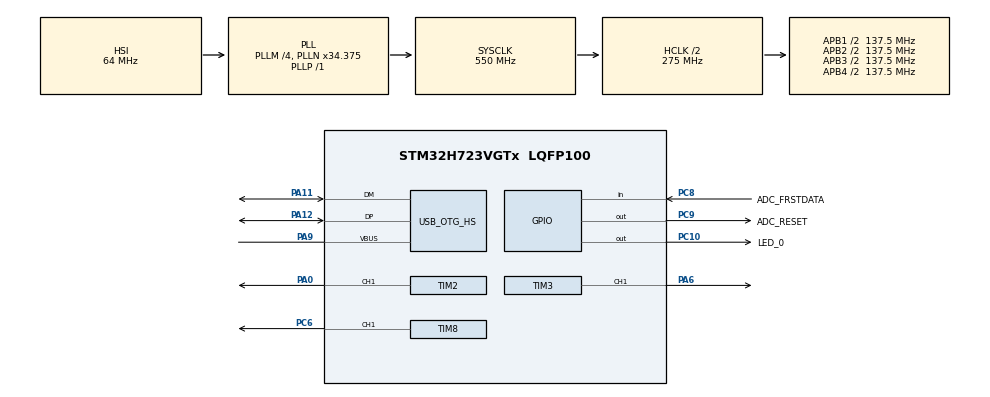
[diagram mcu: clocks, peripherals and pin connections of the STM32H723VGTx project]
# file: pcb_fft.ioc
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Dma.FMAC_RD.1.Direction=DMA_PERIPH_TO_MEMORY
Dma.FMAC_RD.1.EventEnable=DISABLE
Dma.FMAC_RD.1.FIFOMode=DMA_FIFOMODE_DISABLE
Dma.FMAC_RD.1.Instance=DMA1_Stream0
Dma.FMAC_RD.1.MemDataAlignment=DMA_MDATAALIGN_HALFWORD
Dma.FMAC_RD.1.MemInc=DMA_MINC_ENABLE
Dma.FMAC_RD.1.Mode=DMA_NORMAL
Dma.FMAC_RD.1.PeriphDataAlignment=DMA_PDATAALIGN_HALFWORD
Dma.FMAC_RD.1.PeriphInc=DMA_PINC_DISABLE
Dma.FMAC_RD.1.Polarity=HAL_DMAMUX_REQ_GEN_RISING
Dma.FMAC_RD.1.Priority=DMA_PRIORITY_LOW
Dma.FMAC_RD.1.RequestNumber=1
Dma.FMAC_RD.1.SignalID=NONE
Dma.FMAC_RD.1.SyncEnable=DISABLE
Dma.FMAC_RD.1.SyncPolarity=HAL_DMAMUX_SYNC_NO_EVENT
Dma.FMAC_RD.1.SyncRequestNumber=1
Dma.FMAC_RD.1.SyncSignalID=NONE
Dma.FMAC_WR.2.Direction=DMA_MEMORY_TO_PERIPH
Dma.FMAC_WR.2.EventEnable=DISABLE
Dma.FMAC_WR.2.FIFOMode=DMA_FIFOMODE_DISABLE
Dma.FMAC_WR.2.Instance=DMA1_Stream1
Dma.FMAC_WR.2.MemDataAlignment=DMA_MDATAALIGN_HALFWORD
Dma.FMAC_WR.2.MemInc=DMA_MINC_ENABLE
Dma.FMAC_WR.2.Mode=DMA_NORMAL
Dma.FMAC_WR.2.PeriphDataAlignment=DMA_PDATAALIGN_HALFWORD
Dma.FMAC_WR.2.PeriphInc=DMA_PINC_DISABLE
Dma.FMAC_WR.2.Polarity=HAL_DMAMUX_REQ_GEN_RISING
Dma.FMAC_WR.2.Priority=DMA_PRIORITY_LOW
Dma.FMAC_WR.2.RequestNumber=1
Dma.FMAC_WR.2.SignalID=NONE
Dma.FMAC_WR.2.SyncEnable=DISABLE
Dma.FMAC_WR.2.SyncPolarity=HAL_DMAMUX_SYNC_NO_EVENT
Dma.FMAC_WR.2.SyncRequestNumber=1
Dma.FMAC_WR.2.SyncSignalID=NONE
Dma.MEMTOMEM.5.Direction=DMA_MEMORY_TO_MEMORY
Dma.MEMTOMEM.5.EventEnable=DISABLE
Dma.MEMTOMEM.5.FIFOMode=DMA_FIFOMODE_ENABLE
Dma.MEMTOMEM.5.FIFOThreshold=DMA_FIFO_THRESHOLD_FULL
Dma.MEMTOMEM.5.Instance=DMA1_Stream4
Dma.MEMTOMEM.5.MemBurst=DMA_MBURST_SINGLE
Dma.MEMTOMEM.5.MemDataAlignment=DMA_MDATAALIGN_HALFWORD
Dma.MEMTOMEM.5.MemInc=DMA_MINC_DISABLE
Dma.MEMTOMEM.5.Mode=DMA_NORMAL
Dma.MEMTOMEM.5.PeriphBurst=DMA_PBURST_SINGLE
Dma.MEMTOMEM.5.PeriphDataAlignment=DMA_PDATAALIGN_HALFWORD
Dma.MEMTOMEM.5.PeriphInc=DMA_PINC_ENABLE
Dma.MEMTOMEM.5.Polarity=HAL_DMAMUX_REQ_GEN_RISING
Dma.MEMTOMEM.5.Priority=DMA_PRIORITY_LOW
Dma.MEMTOMEM.5.RequestNumber=1
Dma.MEMTOMEM.5.SignalID=NONE
Dma.MEMTOMEM.5.SyncEnable=DISABLE
Dma.MEMTOMEM.5.SyncPolarity=HAL_DMAMUX_SYNC_NO_EVENT
Dma.MEMTOMEM.5.SyncRequestNumber=1
Dma.MEMTOMEM.5.SyncSignalID=NONE
Dma.Request0=TIM5_CH1
Dma.Request1=FMAC_RD
Dma.Request2=FMAC_WR
Dma.Request3=TIM23_CH1
Dma.Request4=TIM5_UP
Dma.Request5=MEMTOMEM
Dma.TIM23_CH1.3.Direction=DMA_PERIPH_TO_MEMORY
Dma.TIM23_CH1.3.EventEnable=DISABLE
Dma.TIM23_CH1.3.FIFOMode=DMA_FIFOMODE_DISABLE
Dma.TIM23_CH1.3.Instance=DMA1_Stream2
Dma.TIM23_CH1.3.MemDataAlignment=DMA_MDATAALIGN_HALFWORD
Dma.TIM23_CH1.3.MemInc=DMA_MINC_ENABLE
Dma.TIM23_CH1.3.Mode=DMA_NORMAL
Dma.TIM23_CH1.3.PeriphDataAlignment=DMA_PDATAALIGN_HALFWORD
Dma.TIM23_CH1.3.PeriphInc=DMA_PINC_DISABLE
Dma.TIM23_CH1.3.Polarity=HAL_DMAMUX_REQ_GEN_RISING
Dma.TIM23_CH1.3.Priority=DMA_PRIORITY_VERY_HIGH
Dma.TIM23_CH1.3.RequestNumber=1
Dma.TIM23_CH1.3.SignalID=NONE
Dma.TIM23_CH1.3.SyncEnable=DISABLE
Dma.TIM23_CH1.3.SyncPolarity=HAL_DMAMUX_SYNC_NO_EVENT
Dma.TIM23_CH1.3.SyncRequestNumber=1
Dma.TIM23_CH1.3.SyncSignalID=NONE
Dma.TIM5_CH1.0.Direction=DMA_PERIPH_TO_MEMORY
Dma.TIM5_CH1.0.EventEnable=DISABLE
Dma.TIM5_CH1.0.FIFOMode=DMA_FIFOMODE_DISABLE
Dma.TIM5_CH1.0.Instance=DMA1_Stream5
Dma.TIM5_CH1.0.MemDataAlignment=DMA_MDATAALIGN_HALFWORD
Dma.TIM5_CH1.0.MemInc=DMA_MINC_ENABLE
Dma.TIM5_CH1.0.Mode=DMA_NORMAL
Dma.TIM5_CH1.0.PeriphDataAlignment=DMA_PDATAALIGN_HALFWORD
Dma.TIM5_CH1.0.PeriphInc=DMA_PINC_DISABLE
Dma.TIM5_CH1.0.Polarity=HAL_DMAMUX_REQ_GEN_RISING
Dma.TIM5_CH1.0.Priority=DMA_PRIORITY_VERY_HIGH
Dma.TIM5_CH1.0.RequestNumber=1
Dma.TIM5_CH1.0.SignalID=NONE
Dma.TIM5_CH1.0.SyncEnable=DISABLE
Dma.TIM5_CH1.0.SyncPolarity=HAL_DMAMUX_SYNC_NO_EVENT
Dma.TIM5_CH1.0.SyncRequestNumber=1
Dma.TIM5_CH1.0.SyncSignalID=NONE
Dma.TIM5_UP.4.Direction=DMA_PERIPH_TO_MEMORY
Dma.TIM5_UP.4.EventEnable=DISABLE
Dma.TIM5_UP.4.FIFOMode=DMA_FIFOMODE_DISABLE
Dma.TIM5_UP.4.Instance=DMA1_Stream3
Dma.TIM5_UP.4.MemDataAlignment=DMA_MDATAALIGN_HALFWORD
Dma.TIM5_UP.4.MemInc=DMA_MINC_ENABLE
Dma.TIM5_UP.4.Mode=DMA_NORMAL
Dma.TIM5_UP.4.PeriphDataAlignment=DMA_PDATAALIGN_HALFWORD
Dma.TIM5_UP.4.PeriphInc=DMA_PINC_DISABLE
Dma.TIM5_UP.4.Polarity=HAL_DMAMUX_REQ_GEN_RISING
Dma.TIM5_UP.4.Priority=DMA_PRIORITY_VERY_HIGH
Dma.TIM5_UP.4.RequestNumber=1
Dma.TIM5_UP.4.SignalID=NONE
Dma.TIM5_UP.4.SyncEnable=DISABLE
Dma.TIM5_UP.4.SyncPolarity=HAL_DMAMUX_SYNC_NO_EVENT
Dma.TIM5_UP.4.SyncRequestNumber=1
Dma.TIM5_UP.4.SyncSignalID=NONE
Mcu.Family=STM32H7
Mcu.Name=STM32H723VGTx
Mcu.Package=LQFP100
NVIC.DMA1_Stream0_IRQn=true\:0\:0\:false\:false\:true\:false\:true\:true
NVIC.DMA1_Stream1_IRQn=true\:0\:0\:false\:false\:true\:false\:true\:true
NVIC.DMA1_Stream2_IRQn=true\:0\:0\:false\:false\:true\:false\:true\:true
NVIC.DMA1_Stream3_IRQn=true\:0\:0\:false\:false\:true\:false\:true\:true
NVIC.DMA1_Stream4_IRQn=true\:0\:0\:false\:false\:true\:true\:true\:true
NVIC.DMA1_Stream5_IRQn=true\:0\:0\:false\:false\:true\:false\:true\:true
NVIC.OTG_HS_IRQn=true\:0\:0\:false\:false\:true\:false\:true\:true
NVIC.PriorityGroup=NVIC_PRIORITYGROUP_4
PA0.Signal=S_TIM2_CH1_ETR
PA11.Mode=Device_Only_FS
PA11.Signal=USB_OTG_HS_DM
PA12.Mode=Device_Only_FS
PA12.Signal=USB_OTG_HS_DP
PA13(JTMS/SWDIO).Mode=Serial_Wire
PA13(JTMS/SWDIO).Signal=DEBUG_JTMS-SWDIO
PA14(JTCK/SWCLK).Mode=Serial_Wire
PA14(JTCK/SWCLK).Signal=DEBUG_JTCK-SWCLK
PA6.Signal=S_TIM3_CH1
PA9.Mode=Activate_VBUS_FS
PA9.Signal=USB_OTG_HS_VBUS
PC10.GPIO_Label=LED_0
PC10.Signal=GPIO_Output
PC6.Signal=S_TIM8_CH1
PC8.GPIO_Label=ADC_FRSTDATA
PC8.Signal=GPIO_Input
PC9.GPIO_Label=ADC_RESET
PC9.Signal=GPIO_Output
ProjectManager.HeapSize=0x200
ProjectManager.StackSize=0x400
ProjectManager.TargetToolchain=STM32CubeIDE
RCC.ADCFreq_Value=129000000
RCC.APB1Freq_Value=137500000
RCC.APB2Freq_Value=137500000
RCC.APB3Freq_Value=137500000
RCC.APB4Freq_Value=137500000
RCC.CortexFreq_Value=550000000
RCC.D1PPRE=RCC_APB3_DIV2
RCC.D2PPRE1=RCC_APB1_DIV2
RCC.D2PPRE2=RCC_APB2_DIV2
RCC.D3PPRE=RCC_APB4_DIV2
RCC.DIVM1=4
RCC.DIVN1=34
RCC.DIVP1=1
RCC.HCLKFreq_Value=275000000
RCC.HPRE=RCC_HCLK_DIV2
RCC.PLL2FRACN=0
RCC.PLL3FRACN=0
RCC.PLLFRACN=3072
RCC.SYSCLKFreq_VALUE=550000000
RCC.SYSCLKSource=RCC_SYSCLKSOURCE_PLLCLK
RCC.USBCLockSelection=RCC_USBCLKSOURCE_HSI48
RCC.USBFreq_Value=48000000
SH.S_TIM2_CH1_ETR.0=TIM2_CH1,PWM Generation1 CH1
SH.S_TIM3_CH1.0=TIM3_CH1,PWM Generation1 CH1
SH.S_TIM8_CH1.0=TIM8_CH1,PWM Generation1 CH1
TIM2.Channel-PWM\ Generation1\ CH1=TIM_CHANNEL_1
TIM2.CounterMode=TIM_COUNTERMODE_DOWN
TIM2.Period=1431
TIM2.Pulse-PWM\ Generation1\ CH1=716
TIM2.TIM_MasterOutputTrigger=TIM_TRGO_UPDATE
TIM2.TIM_MasterSlaveMode=TIM_MASTERSLAVEMODE_ENABLE
TIM23.Channel-PWM\ Generation1\ No\ Output=TIM_CHANNEL_1
TIM23.Period=17
TIM23.Pulse-PWM\ Generation1\ No\ Output=13
TIM3.Channel-PWM\ Generation1\ CH1=TIM_CHANNEL_1
TIM3.Period=479
TIM3.Pulse-PWM\ Generation1\ CH1=1
TIM4.Period=2
TIM4.TIM_MasterOutputTrigger=TIM_TRGO_UPDATE
TIM5.Channel-PWM\ Generation1\ No\ Output=TIM_CHANNEL_1
TIM5.Period=17
TIM5.Pulse-PWM\ Generation1\ No\ Output=13
TIM5.TIM_MasterOutputTrigger=TIM_TRGO_UPDATE
TIM8.Channel-PWM\ Generation1\ CH1=TIM_CHANNEL_1
TIM8.OCFastMode_PWM-PWM\ Generation1\ CH1=TIM_OCFAST_ENABLE
TIM8.Period=53
TIM8.Pulse-PWM\ Generation1\ CH1=40
TIM8.RepetitionCounter=7
TIM8.TIM_MasterOutputTrigger=TIM_TRGO_OC1REF
USB_DEVICE.CLASS_NAME_HS=CDC
USB_DEVICE.VirtualMode=Cdc
USB_DEVICE.VirtualModeHS=Cdc_HS
USB_OTG_HS.VirtualMode-Device_Only_FS=Device_Only_FS
VP_FMAC_VS_FMAC.Mode=FMAC_Activate
VP_RCC_USB.Mode=USB_HS
VP_TIM23_VS_ClockSourceITR.Mode=TriggerSource_ITR5
VP_TIM23_VS_ControllerModeTrigger.Mode=Trigger Mode
VP_TIM23_VS_OPM.Mode=OPM_bit
VP_TIM23_VS_no_output1.Mode=PWM Generation1 No Output
VP_TIM3_VS_ClockSourceITR.Mode=TriggerSource_ITR1
VP_TIM3_VS_ControllerModeTrigger.Mode=Trigger Mode
VP_TIM3_VS_OPM.Mode=OPM_bit
VP_TIM4_VS_ClockSourceITR.Mode=TriggerSource_ITR1
VP_TIM4_VS_ControllerModeTrigger.Mode=Trigger Mode
VP_TIM4_VS_OPM.Mode=OPM_bit
VP_TIM5_VS_ClockSourceITR.Mode=TriggerSource_ITR1
VP_TIM5_VS_ControllerModeTrigger.Mode=Trigger Mode
VP_TIM5_VS_OPM.Mode=OPM_bit
VP_TIM5_VS_no_output1.Mode=PWM Generation1 No Output
VP_TIM8_VS_ClockSourceITR.Mode=TriggerSource_ITR2
VP_TIM8_VS_ControllerModeTrigger.Mode=Trigger Mode
VP_TIM8_VS_OPM.Mode=OPM_bit
VP_USB_DEVICE_VS_USB_DEVICE_CDC_HS.Mode=CDC_HS
board=custom

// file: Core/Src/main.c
/* USER CODE BEGIN Header */
/**
  ******************************************************************************
  * @file           : main.c
  * @brief          : Main program body
  ******************************************************************************
  * @attention
  *
  * Copyright (c) 2023 STMicroelectronics.
  * All rights reserved.
  *
  * This software is licensed under terms that can be found in the LICENSE file
  * in the root directory of this software component.
  * If no LICENSE file comes with this software, it is provided AS-IS.
  *
  ******************************************************************************
  */
/* USER CODE END Header */
#include "main.h"
#include "dma.h"
#include "fmac.h"
#include "tim.h"
#include "usb_device.h"
#include "gpio.h"

/* USER CODE BEGIN Includes */
#include "arm_math.h"
#include "coefficients.h"
#include "usbd_cdc_if.h"
#include "string.h"
#include "srp.h"
#include "tables.h"
#include "fir.h"

/* USER CODE END Includes */

/* USER CODE BEGIN PM */
#define SET_TEST() LED_0_GPIO_Port->BSRR = LED_0_Pin
#define RESET_TEST() LED_0_GPIO_Port->BSRR = (uint32_t)LED_0_Pin << 16U
//#define SET_TEST() ;
//#define RESET_TEST() ;

/* USER CODE END PM */

/* USER CODE BEGIN PV */
volatile static uint16_t data_buffer[4][1024];
volatile static uint32_t rx_buffer[1024*8];

volatile static uint8_t adc_parallel_dma_flag;

/* USER CODE END PV */

void SystemClock_Config(void);
/* USER CODE BEGIN PFP */
void DMA_TIM8_callback(DMA_HandleTypeDef* hdma);
void DMA_TIM23_callback(DMA_HandleTypeDef* hdma);

/* USER CODE END PFP */

int main(void)
{
  /* USER CODE BEGIN 1 */
	__HAL_RCC_D2SRAM2_CLK_ENABLE();

  /* USER CODE END 1 */

  /* MCU Configuration--------------------------------------------------------*/

  /* Reset of all peripherals, Initializes the Flash interface and the Systick. */
  HAL_Init();

  /* Configure the system clock */
  SystemClock_Config();

  /* USER CODE BEGIN SysInit */
  /* DMA1_Stream5_IRQn interrupt configuration */

  /* USER CODE END SysInit */

  /* Initialize all configured peripherals */
  MX_GPIO_Init();
  MX_DMA_Init();
  MX_TIM4_Init();
  MX_TIM5_Init();
  MX_TIM8_Init();
  MX_USB_DEVICE_Init();
  MX_TIM2_Init();
  MX_FMAC_Init();
  MX_TIM3_Init();
  MX_TIM23_Init();
  /* USER CODE BEGIN 2 */

  // Allocate the memory for the DMA buffers.
	// + 256 KB
  volatile uint16_t* working_buffer;
  volatile uint16_t* filling_buffer;
	volatile uint16_t* buffer_0 = malloc(8*8*1024*2);
	volatile uint16_t* buffer_1 = malloc(8*8*1024*2);

	volatile uint16_t* frst_working_buffer;
	volatile uint16_t* frst_filling_buffer;
	volatile uint16_t* frst_buffer_0 = malloc(512*2);
	volatile uint16_t* frst_buffer_1 = malloc(512*2);

  // Make the RFFT instance.
  arm_rfft_fast_instance_f32 fft;
  arm_rfft_fast_init_f32(&fft, 1024);

  // Make the FIR instance.
	q15_t state[8320];
	for (int i = 0; i < 8320; i++)
		state[i] = 0;

	q15_t q_coefficients[64];
	arm_float_to_q15(coefficients, q_coefficients, 64);

	arm_fir_decimate_instance_q15 fir;
	arm_fir_decimate_init_q15(&fir, 64, 8, q_coefficients, state, 1024);

	fir_set_up();

	// Allocate the memory for the deinterleaved data.
	// + 128 KB
	uint16_t* oversampled[8];
	for (int16_t i = 0; i < 8; i++)
		oversampled[i] = (uint16_t*)(D1_DTCMRAM_BASE + 8*1024*2*i);

	uint8_t i_R[8][8];
	uint8_t count = 0;
	for (int i = 0; i < 8; i++) {
		for (int j = i+1;  j < 8; j++) {
			i_R[i][j] = count++;
		}
	}

	/*// Allocate the memory for the TDOAs.
	// + 71 KB
	uint8_t* tau[28];
	for (int16_t i = 0; i < 28; i++)
		tau[i] = (uint8_t*)(D1_DTCMRAM_BASE + 0x00000000 + 2562*i);*/

	const volatile int8_t* tau[28];
	tau[0] = tau_table_0;
	tau[1] = tau_table_1;
	tau[2] = tau_table_2;
	tau[3] = tau_table_3;
	tau[4] = tau_table_4;
	tau[5] = tau_table_5;
	tau[6] = tau_table_6;
	tau[7] = tau_table_7;
	tau[8] = tau_table_8;
	tau[9] = tau_table_9;
	tau[10] = tau_table_10;
	tau[11] = tau_table_11;
	tau[12] = tau_table_12;
	tau[13] = tau_table_13;
	tau[14] = tau_table_14;
	tau[15] = tau_table_15;
	tau[16] = tau_table_16;
	tau[17] = tau_table_17;
	tau[18] = tau_table_18;
	tau[19] = tau_table_19;
	tau[20] = tau_table_20;
	tau[21] = tau_table_21;
	tau[22] = tau_table_22;
	tau[23] = tau_table_23;
	tau[24] = tau_table_24;
	tau[25] = tau_table_25;
	tau[26] = tau_table_26;
	tau[27] = tau_table_27;

	adc_parallel_dma_flag = 0;

  CLEAR_BIT(TIM8->CR1, TIM_CR1_ARPE);
	TIM8->ARR = 53; //27
	TIM8->CCR1 = 40; //14
	TIM8->RCR = 7;
	SET_BIT(TIM8->CR1, TIM_CR1_ARPE);

	//SET_BIT(TIM8->CCER, TIM_CCER_CC1P);

	// Reset the ADC.
	HAL_GPIO_WritePin(ADC_RESET_GPIO_Port, ADC_RESET_Pin, GPIO_PIN_SET);
	HAL_Delay(1); // > 3 us
	HAL_GPIO_WritePin(ADC_RESET_GPIO_Port, ADC_RESET_Pin, GPIO_PIN_RESET);
	HAL_Delay(1); // > 253 us

	RCC->AHB4ENR |= RCC_AHB4ENR_GPIODEN;
	WRITE_REG(GPIOD->MODER, 0x00000000UL);

	__HAL_TIM_ENABLE_DMA(&htim5, TIM_DMA_CC1);
	htim5.hdma[TIM_DMA_ID_CC1]->XferCpltCallback = DMA_TIM8_callback;

	//__HAL_TIM_ENABLE_DMA(&htim23, TIM_DMA_UPDATE);
	//htim5.hdma[TIM_DMA_ID_UPDATE]->XferCpltCallback = DMA_TIM23_callback;

	// Start the SCLK timer, the nCS timer, and the CONVST timer respectively.
	HAL_TIM_PWM_Start(&htim5, TIM_CHANNEL_1);
	HAL_TIM_PWM_Start(&htim23, TIM_CHANNEL_1);
	HAL_TIM_PWM_Start(&htim8, TIM_CHANNEL_1);
	HAL_TIM_PWM_Start(&htim3, TIM_CHANNEL_1);
	HAL_TIM_PWM_Start(&htim4, TIM_CHANNEL_1);

	filling_buffer = buffer_0;
	frst_filling_buffer = frst_buffer_0;
	HAL_DMA_Start_IT(htim5.hdma[TIM_DMA_ID_CC1], (uint32_t)&GPIOD->IDR + 0, (uint32_t)filling_buffer, 1024*8*8-1);
	//HAL_DMA_Start_IT(htim5.hdma[TIM_DMA_ID_UPDATE], (uint32_t)&GPIOD->IDR + 0, (uint32_t)frst_filling_buffer, 512);

	HAL_TIM_PWM_Start(&htim2, TIM_CHANNEL_1);

  /* USER CODE END 2 */

  /* Infinite loop */
  /* USER CODE BEGIN WHILE */
  while (1)
  {
  	//HAL_GPIO_TogglePin(LED_0_GPIO_Port, LED_0_Pin);
  	//HAL_Delay(500);

  	if (adc_parallel_dma_flag == 1) {

  		char header[6] = "\r\n[\r\n";
			char footer[6] = "\r\n]\r\n";
			char str[128] = "";

  		adc_parallel_dma_flag = 0;

  		if (filling_buffer == buffer_0) {
  			filling_buffer = buffer_1;
  			working_buffer = buffer_0;
  		} else if (filling_buffer == buffer_1) {
  			filling_buffer = buffer_0;
  			working_buffer = buffer_1;
  		}

  		if (frst_filling_buffer == frst_buffer_0) {
				frst_filling_buffer = frst_buffer_1;
				frst_working_buffer = frst_buffer_0;
			} else if (frst_filling_buffer == frst_buffer_1) {
				frst_filling_buffer = frst_buffer_0;
				frst_working_buffer = frst_buffer_1;
			}

  		SET_TEST();
  		HAL_TIM_PWM_Start(&htim5, TIM_CHANNEL_1);
  		HAL_TIM_PWM_Start(&htim23, TIM_CHANNEL_1);
			HAL_TIM_PWM_Start(&htim8, TIM_CHANNEL_1);
			HAL_TIM_PWM_Start(&htim3, TIM_CHANNEL_1);
			HAL_TIM_PWM_Start(&htim4, TIM_CHANNEL_1);

  		HAL_DMA_Abort_IT(htim5.hdma[TIM_DMA_ID_CC1]);
  		HAL_DMA_Start_IT(htim5.hdma[TIM_DMA_ID_CC1], (uint32_t)&GPIOD->IDR + 0, (uint32_t)filling_buffer, 1024*8*8-1);
  		//HAL_DMA_Start_IT(htim5.hdma[TIM_DMA_ID_UPDATE], (uint32_t)&GPIOD->IDR + 0, (uint32_t)frst_filling_buffer, 512);

			HAL_TIM_PWM_Start(&htim2, TIM_CHANNEL_1);
  		RESET_TEST();

  		// Deinterleave the raw data.
  		SET_TEST();
			/*for (int32_t i = 0; i < 8*8*1024; i++) {
				oversampled[i%8][i/((int32_t)8)] = buffer_0[i];
			}*/
#define DEINTERLEAVING_OFFSET 1
  		for (int32_t i = 0; i < 8*1024; i ++) {
  			oversampled[0][i] = working_buffer[i*8 + 0 + DEINTERLEAVING_OFFSET];
  		}
  		for (int32_t i = 0; i < 8*1024; i ++) {
				oversampled[1][i] = working_buffer[i*8 + 1 + DEINTERLEAVING_OFFSET];
			}
  		for (int32_t i = 0; i < 8*1024; i ++) {
				oversampled[2][i] = working_buffer[i*8 + 2 + DEINTERLEAVING_OFFSET];
			}
  		for (int32_t i = 0; i < 8*1024; i ++) {
				oversampled[3][i] = working_buffer[i*8 + 3 + DEINTERLEAVING_OFFSET];
			}
  		for (int32_t i = 0; i < 8*1024; i ++) {
				oversampled[4][i] = working_buffer[i*8 + 4 + DEINTERLEAVING_OFFSET];
			}
  		for (int32_t i = 0; i < 8*1024; i ++) {
				oversampled[5][i] = working_buffer[i*8 + 5 + DEINTERLEAVING_OFFSET];
			}
  		for (int32_t i = 0; i < 8*1024; i ++) {
				oversampled[6][i] = working_buffer[i*8 + 6 + DEINTERLEAVING_OFFSET];
			}
  		for (int32_t i = 0; i < 8*1024; i ++) {
				oversampled[7][i] = working_buffer[i*8 + 0];
			}
			RESET_TEST();

			// Allocate the memory for the decimated data.
			// + 16 KB
			q15_t* decimated[8];
			for (int16_t i = 0; i < 8; i++)
				decimated[i] = (q15_t*)(D3_SRAM_BASE + 0x00000000 + 1024*2*i);

#define DSP_FIR
#ifdef DSP_FIR
			// Decimate the deinterleaved oversampled data.
			SET_TEST();
			for (int8_t i = 0; i < 8; i ++)
				arm_fir_decimate_q15(&fir, (q15_t*)oversampled[i], decimated[i], 8192);
			RESET_TEST();
#else
			uint16_t fir_input[8192];
			uint16_t fir_output[8192];
			for (int16_t i = 0; i < 8192; i++)
				fir_input[i] = 0;
			fir_input[32] = 0x7FFF;
			fir_input[33] = 0x7FFF;

			SET_TEST();
			uint16_t fir_data_length = 4*8192;
			fir_preload();
			fir_filter((int16_t*)working_buffer, fir_data_length, (int16_t*)working_buffer, fir_data_length);
			RESET_TEST();

			for (int i = 0; i < 2; i ++) {
				CDC_Transmit_HS((uint8_t*)header, strlen(header));
				HAL_Delay(1);
				for (int i = 0; i < 8192; i++) {
					sprintf(str, ",%d", (int16_t)fir_output[i]);
					CDC_Transmit_HS((uint8_t*)str, strlen(str));
					HAL_Delay(1);
				}
				CDC_Transmit_HS((uint8_t*)footer, strlen(footer));
				HAL_Delay(1);
			}
#endif

			// Allocate the memory for the time-domain data.
			// + 32 KB
			float32_t* x[8];
			for (int16_t i = 0; i < 8; i++)
				x[i] = (float32_t*)(D1_DTCMRAM_BASE + 0x00004000 + 1024*4*i);

			// Convert the data from fixed-point to floating-point.
			SET_TEST();
			for (int8_t i = 0; i < 8; i ++)
				arm_q15_to_float(decimated[i], x[i], 1024);
			RESET_TEST();

			/*for (int j = 0; j < 8; j++) {
				CDC_Transmit_HS((uint8_t*)header, strlen(header));
				HAL_Delay(1);
				for (int i = 0; i < 1024; i++) {
					sprintf(str, ",%f", x[j][i]);
					CDC_Transmit_HS((uint8_t*)str, strlen(str));
					HAL_Delay(1);
				}
				CDC_Transmit_HS((uint8_t*)footer, strlen(footer));
				HAL_Delay(1);
			}*/

			// Allocate the memory for the frequency-domain data.
			// + 32 KB
			float32_t* X[8];
			for (int16_t i = 0; i < 8; i++)
				X[i] = (float32_t*)(D1_ITCMRAM_BASE + 0x00000000 + 512*4*2*i);

			// Calculate the FFT of each channel.
			SET_TEST();
			for (int i = 0; i < 8; i++)
				arm_rfft_fast_f32(&fft, x[i], X[i], 0);
			RESET_TEST();

			// Allocate the memory for the complex magnitudes.
			// + 16 KB
			float32_t* abs_X[8];
			for (int16_t i = 0; i < 8; i++)
				abs_X[i] = (float32_t*)(D1_DTCMRAM_BASE + 0x0001C000 + 512*4*i);

			// Compute the complex magnitude of the frequency-domain data.
			SET_TEST();
			for (int i = 0; i < 8; i++) {
				arm_cmplx_mag_f32(X[i], abs_X[i], 512);
			}
			RESET_TEST();

			/*CDC_Transmit_HS((uint8_t*)header, strlen(header));
			for (int i = 0; i < 512; i++) {
				sprintf(str, "%f,", abs_X[0][i]);
				CDC_Transmit_HS((uint8_t*)str, strlen(str));
				HAL_Delay(1);
			}*/

			// Allocate the memory for the complex conjugates.
			// + 32 KB
			float32_t* conj_X[8];
			for (int16_t i = 0; i < 8; i++)
				conj_X[i] = (float32_t*)(D1_ITCMRAM_BASE + 0x00008000 + 512*4*2*i);

			// Compute the complex conjugate of the frequency-domain data.
			SET_TEST();
			for (int i = 0; i < 8; i++) {
				arm_cmplx_conj_f32(X[i], conj_X[i], 512);
			}
			RESET_TEST();

			// Allocate the memory for the GCCs.
			// + 112 KB
			float32_t* R[28];
			for (int16_t i = 0; i < 28; i++)
				R[i] = (float32_t*)(D1_DTCMRAM_BASE + 0x00000000 + 1024*4*i);

			// Compute the GCCs for all pairs.
			for (int i = 0; i < 8; i++) {
				for (int j = i+1;  j < 8; j++) {
					SET_TEST();
					compute_gcc_phat(&fft, R[i_R[i][j]], X[i], X[j], abs_X[i], abs_X[j], conj_X[j]);
					RESET_TEST();
				}
			}

			//CDC_Transmit_HS((uint8_t*)header, strlen(header));
			//HAL_Delay(1);

			// Draw the energy-map.
			volatile float32_t E, E_max = 0;
			volatile uint16_t g_max = 0;
			float32_t E_grid[2562];
			SET_TEST();
			for (int g = 0; g < 2562; g++) {
				E_grid[g] = compute_beam_energy(&fft, g, R, tau, i_R);
				//sprintf(str, "%f,", E);
				//CDC_Transmit_HS((uint8_t*)str, strlen(str));
				//HAL_Delay(1);
				if (E_grid[g] >= E_max) {
					E_max = E_grid[g];
					g_max = g;
				}
			}
			RESET_TEST();

			volatile float32_t theta, phi;
			theta = grid[0][g_max]*180.0/3.1415;
			phi = grid[1][g_max]*180.0/3.1415;

			SET_TEST();
			if (E_max >= 9.0) {
				sprintf(str, "E = %.2f, theta = %.2f, phi = %.2f\r\n", E_max, theta, phi);
				CDC_Transmit_HS((uint8_t*)str, strlen(str));
				HAL_Delay(1);
				/*if (
						((theta > -1.0) && (theta < 1.0)) &&
						((phi > 44) && (phi < 46))
				){
					for (int g = 0; g < 2562; g++) {
						sprintf(str, "%.2f,", E_grid[g]);
						CDC_Transmit_HS((uint8_t*)str, strlen(str));
						HAL_Delay(1);
					}
					for (int j = 0; j < 8; j++) {
						CDC_Transmit_HS((uint8_t*)header, strlen(header));
						HAL_Delay(1);
						for (int i = 0; i < 1024; i+=2) {
							sprintf(str, ",%.2f+%.2fj", X[j][i],X[j][i+1]);
							CDC_Transmit_HS((uint8_t*)str, strlen(str));
							HAL_Delay(1);
						}
						CDC_Transmit_HS((uint8_t*)footer, strlen(footer));
						HAL_Delay(1);
					}
				}*/
			}
			RESET_TEST();
  	}

    /* USER CODE END WHILE */

  }
}

void SystemClock_Config(void)
{
  RCC_OscInitTypeDef RCC_OscInitStruct = {0};
  RCC_ClkInitTypeDef RCC_ClkInitStruct = {0};
  RCC_CRSInitTypeDef RCC_CRSInitStruct = {0};

  /** Supply configuration update enable
  */
  HAL_PWREx_ConfigSupply(PWR_LDO_SUPPLY);

  /** Configure the main internal regulator output voltage
  */
  __HAL_PWR_VOLTAGESCALING_CONFIG(PWR_REGULATOR_VOLTAGE_SCALE0);

  while(!__HAL_PWR_GET_FLAG(PWR_FLAG_VOSRDY)) {}

  /** Initializes the RCC Oscillators according to the specified parameters
  * in the RCC_OscInitTypeDef structure.
  */
  RCC_OscInitStruct.OscillatorType = RCC_OSCILLATORTYPE_HSI48|RCC_OSCILLATORTYPE_HSI;
  RCC_OscInitStruct.HSIState = RCC_HSI_DIV1;
  RCC_OscInitStruct.HSICalibrationValue = 64;
  RCC_OscInitStruct.HSI48State = RCC_HSI48_ON;
  RCC_OscInitStruct.PLL.PLLState = RCC_PLL_ON;
  RCC_OscInitStruct.PLL.PLLSource = RCC_PLLSOURCE_HSI;
  RCC_OscInitStruct.PLL.PLLM = 4;
  RCC_OscInitStruct.PLL.PLLN = 34;
  RCC_OscInitStruct.PLL.PLLP = 1;
  RCC_OscInitStruct.PLL.PLLQ = 2;
  RCC_OscInitStruct.PLL.PLLR = 2;
  RCC_OscInitStruct.PLL.PLLRGE = RCC_PLL1VCIRANGE_3;
  RCC_OscInitStruct.PLL.PLLVCOSEL = RCC_PLL1VCOWIDE;
  RCC_OscInitStruct.PLL.PLLFRACN = 3072;
  if (HAL_RCC_OscConfig(&RCC_OscInitStruct) != HAL_OK)
  {
    Error_Handler();
  }

  /** Initializes the CPU, AHB and APB buses clocks
  */
  RCC_ClkInitStruct.ClockType = RCC_CLOCKTYPE_HCLK|RCC_CLOCKTYPE_SYSCLK
                              |RCC_CLOCKTYPE_PCLK1|RCC_CLOCKTYPE_PCLK2
                              |RCC_CLOCKTYPE_D3PCLK1|RCC_CLOCKTYPE_D1PCLK1;
  RCC_ClkInitStruct.SYSCLKSource = RCC_SYSCLKSOURCE_PLLCLK;
  RCC_ClkInitStruct.SYSCLKDivider = RCC_SYSCLK_DIV1;
  RCC_ClkInitStruct.AHBCLKDivider = RCC_HCLK_DIV2;
  RCC_ClkInitStruct.APB3CLKDivider = RCC_APB3_DIV2;
  RCC_ClkInitStruct.APB1CLKDivider = RCC_APB1_DIV2;
  RCC_ClkInitStruct.APB2CLKDivider = RCC_APB2_DIV2;
  RCC_ClkInitStruct.APB4CLKDivider = RCC_APB4_DIV2;

  if (HAL_RCC_ClockConfig(&RCC_ClkInitStruct, FLASH_LATENCY_3) != HAL_OK)
  {
    Error_Handler();
  }

  /** Enable the SYSCFG APB clock
  */
  __HAL_RCC_CRS_CLK_ENABLE();

  /** Configures CRS
  */
  RCC_CRSInitStruct.Prescaler = RCC_CRS_SYNC_DIV1;
  RCC_CRSInitStruct.Source = RCC_CRS_SYNC_SOURCE_USB2;
  RCC_CRSInitStruct.Polarity = RCC_CRS_SYNC_POLARITY_RISING;
  RCC_CRSInitStruct.ReloadValue = __HAL_RCC_CRS_RELOADVALUE_CALCULATE(48000000,1000);
  RCC_CRSInitStruct.ErrorLimitValue = 34;
  RCC_CRSInitStruct.HSI48CalibrationValue = 32;

  HAL_RCCEx_CRSConfig(&RCC_CRSInitStruct);
}

/* USER CODE BEGIN 4 */

void DMA_TIM8_callback(DMA_HandleTypeDef* hdma) {
	if (hdma == htim5.hdma[TIM_DMA_ID_CC1]) {
		adc_parallel_dma_flag = 1;
		//HAL_GPIO_TogglePin(SIG_0_GPIO_Port, SIG_0_Pin);
		HAL_TIM_PWM_Stop(&htim2, TIM_CHANNEL_1);
		HAL_TIM_PWM_Stop(&htim4, TIM_CHANNEL_1);
		HAL_TIM_PWM_Stop(&htim3, TIM_CHANNEL_1);
		HAL_TIM_PWM_Stop(&htim8, TIM_CHANNEL_1);
		HAL_TIM_PWM_Stop(&htim23, TIM_CHANNEL_1);
		HAL_TIM_PWM_Stop(&htim5, TIM_CHANNEL_1);
	}
}

void DMA_TIM23_callback(DMA_HandleTypeDef* hdma) {
	if (hdma == htim5.hdma[TIM_DMA_ID_UPDATE]) {
		int robert_frost = 0;
		//HAL_GPIO_TogglePin(SIG_0_GPIO_Port, SIG_0_Pin);
	}
}

/* USER CODE END 4 */

void Error_Handler(void)
{
  __disable_irq();
  while (1)
  {
  }
}
